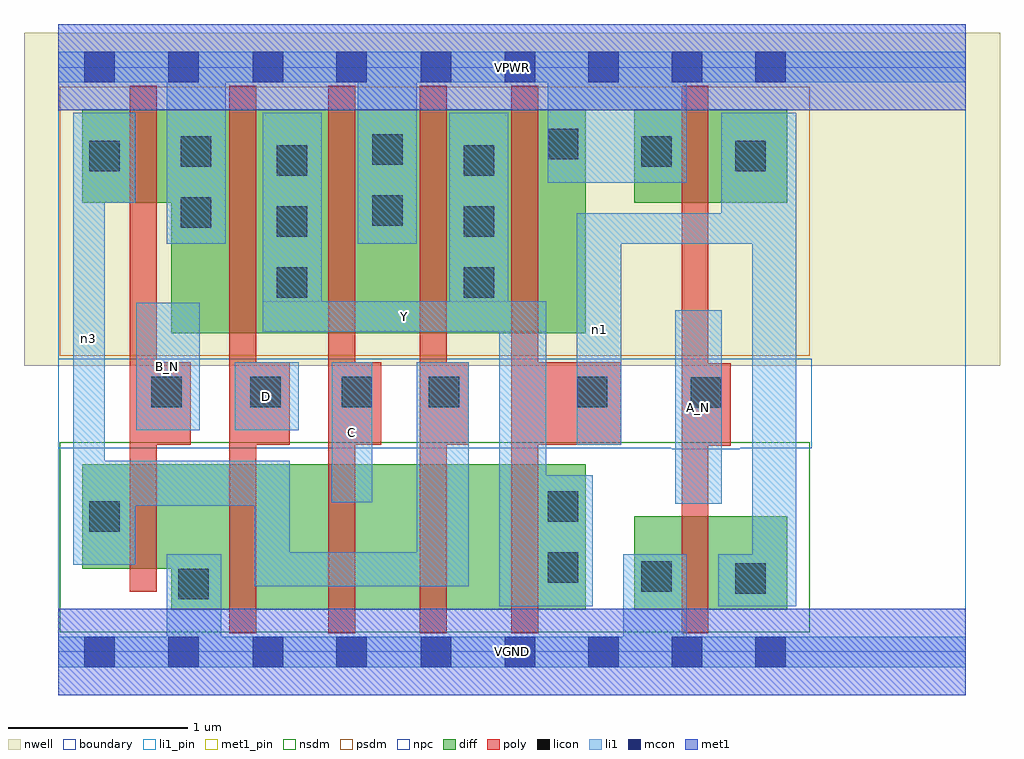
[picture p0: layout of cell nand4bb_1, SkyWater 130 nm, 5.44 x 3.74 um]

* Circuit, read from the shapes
.subckt nand4bb_1 A_N B_N C D VGND VPWR Y n1 n3
XM1 VGND B_N n3 VSUBS sky130_fd_pr__nfet_01v8 w=0.58 l=0.15
XM2 n2 D VGND VSUBS sky130_fd_pr__nfet_01v8 w=0.81 l=0.15
XM3 n4 C n2 VSUBS sky130_fd_pr__nfet_01v8 w=0.81 l=0.15
XM4 n5 n3 n4 VSUBS sky130_fd_pr__nfet_01v8 w=0.81 l=0.15
XM5 Y n1 n5 VSUBS sky130_fd_pr__nfet_01v8 w=0.81 l=0.15
XM6 n1 A_N VGND VSUBS sky130_fd_pr__nfet_01v8 w=0.52 l=0.15
XM7 VPWR B_N n3 n6 sky130_fd_pr__pfet_01v8 w=0.52 l=0.15
XM8 Y D VPWR n6 sky130_fd_pr__pfet_01v8 w=1.25 l=0.15
XM9 VPWR C Y n6 sky130_fd_pr__pfet_01v8 w=1.25 l=0.15
XM10 Y n3 VPWR n6 sky130_fd_pr__pfet_01v8 w=1.25 l=0.15
XM11 VPWR n1 Y n6 sky130_fd_pr__pfet_01v8 w=1.25 l=0.15
XM12 n1 A_N VPWR n6 sky130_fd_pr__pfet_01v8 w=0.52 l=0.15
.ends

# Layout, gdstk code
import gdstk
lib = gdstk.Library(unit=1e-6, precision=1e-09)
def R(c, l, rs):  # rectangles x0, y0, x1, y1
    for r in rs: c.add(gdstk.rectangle(r[:2], r[2:], *l))
def A(c, l, x, y, w, h, nx, ny, dx, dy):  # array of equal rectangles
    R(c, l, [(x+i*dx, y+j*dy, x+i*dx+w, y+j*dy+h) for i in range(nx) for j in range(ny)])
nwell = (64, 20)
diff = (65, 20)
poly = (66, 20)
licon = (66, 44)
li1_pin = (67, 16)
li1 = (67, 20)
mcon = (67, 44)
met1_pin = (68, 16)
met1 = (68, 20)
nsdm = (93, 44)
psdm = (94, 20)
npc = (95, 20)
boundary = (235, 4)

nand4bb_1 = lib.new_cell('nand4bb_1')
R(nand4bb_1, nwell, [(-0.19,1.595,5.25,3.45), (0,1.595,5.06,3.45)])
R(nand4bb_1, diff, [(0.63,0.235,2.94,1.045), (3.21,0.235,4.065,0.755), (0.135,0.465,2.94,1.045), (0.63,1.775,2.94,3.025), (0.135,2.505,2.94,3.025), (3.21,2.505,4.065,3.025)])
A(nand4bb_1, poly, 1.505, 0.105, 0.15, 3.05, 3, 1, 0.51, 0)
R(nand4bb_1, poly, [(0.955,0.105,1.105,3.155), (3.475,0.105,3.625,3.155), (0.4,0.335,0.55,3.155), (3.475,1.15,3.75,1.61), (0.4,1.155,0.74,1.615), (0.955,1.155,1.29,1.615), (1.505,1.155,1.8,1.615), (2.015,1.155,2.29,1.615), (2.525,1.155,3.14,1.615)])
A(nand4bb_1, licon, 1.22, 1.975, 0.17, 0.17, 1, 3, 0, 0.34)
A(nand4bb_1, licon, 2.26, 1.975, 0.17, 0.17, 1, 3, 0, 0.34)
R(nand4bb_1, licon, [(0.67,0.295,0.84,0.465), (3.775,0.325,3.945,0.495), (3.25,0.335,3.42,0.505), (2.73,0.385,2.9,0.555), (0.175,0.67,0.345,0.84), (2.73,0.725,2.9,0.895), (3.525,1.36,3.695,1.53), (0.52,1.365,0.69,1.535), (1.07,1.365,1.24,1.535), (1.58,1.365,1.75,1.535), (2.065,1.365,2.235,1.535), (2.89,1.365,3.06,1.535), (0.685,2.365,0.855,2.535), (1.75,2.375,1.92,2.545), (0.175,2.68,0.345,2.85), (3.775,2.68,3.945,2.85), (0.685,2.705,0.855,2.875), (3.25,2.705,3.42,2.875), (1.75,2.715,1.92,2.885), (2.73,2.745,2.9,2.915)])
R(nand4bb_1, li1_pin, [(3.44,0.825,3.7,1.905), (1.525,0.835,1.75,1.615), (0.435,1.235,0.79,1.945), (0.985,1.235,1.34,1.615), (1.14,1.785,2.72,1.955)])
R(nand4bb_1, li1, [(0,-0.085,5.06,0.085), (0.605,-0.085,0.91,0.545), (3.15,-0.085,3.505,0.545), (2.46,0.255,2.72,1.955), (2.46,0.255,2.98,0.985), (3.68,0.255,4.115,0.545), (3.87,0.255,4.115,3.005), (1.095,0.365,2.29,0.555), (1.095,0.365,1.29,1.065), (2,0.365,2.29,1.615), (0.085,0.485,0.26,3.005), (0.085,0.485,0.43,1.065), (0.085,0.815,1.29,1.065), (3.44,0.825,3.7,1.905), (1.525,0.835,1.75,1.615), (2.89,1.155,3.14,2.445), (0.435,1.235,0.79,1.945), (0.985,1.235,1.34,1.615), (1.14,1.785,1.47,3.005), (1.14,1.785,2.72,1.955), (2.18,1.785,2.51,3.005), (0.605,2.275,0.935,3.345), (1.67,2.275,2,3.345), (2.89,2.275,4.115,2.445), (3.695,2.275,4.115,3.005), (0.085,2.505,0.43,3.005), (2.73,2.615,3.505,3.345), (0,3.175,5.06,3.345)])
A(nand4bb_1, mcon, 0.145, -0.085, 0.17, 0.17, 3, 2, 0.47, 3.26)
A(nand4bb_1, mcon, 1.55, -0.085, 0.17, 0.17, 3, 2, 0.47, 3.26)
A(nand4bb_1, mcon, 2.955, -0.085, 0.17, 0.17, 3, 2, 0.465, 3.26)
R(nand4bb_1, met1_pin, [(0,-0.24,5.06,0.24), (0,3.02,5.06,3.5)])
R(nand4bb_1, met1, [(0,-0.24,5.06,0.24), (0,3.02,5.06,3.5)])
R(nand4bb_1, nsdm, [(0.01,0.11,4.19,1.17)])
R(nand4bb_1, psdm, [(0.01,1.65,4.19,3.15)])
R(nand4bb_1, npc, [(3.42,1.13,3.8,1.635), (0,1.135,4.2,1.635)])
R(nand4bb_1, boundary, [(0,0,5.06,3.26)])
nand4bb_1.add(gdstk.Label('A_N', (3.57,1.365), layer=67, texttype=5))
nand4bb_1.add(gdstk.Label('B_N', (0.612,1.59), layer=67, texttype=5))
nand4bb_1.add(gdstk.Label('C', (1.637,1.225), layer=67, texttype=5))
nand4bb_1.add(gdstk.Label('D', (1.162,1.425), layer=67, texttype=5))
nand4bb_1.add(gdstk.Label('Y', (1.93,1.87), layer=67, texttype=5))
nand4bb_1.add(gdstk.Label('n3', (0.172,1.745), layer=67, texttype=5))
nand4bb_1.add(gdstk.Label('n1', (3.015,1.8), layer=67, texttype=5))
nand4bb_1.add(gdstk.Label('VPWR', (2.53,3.26), layer=68, texttype=5))
nand4bb_1.add(gdstk.Label('VGND', (2.53,0), layer=68, texttype=5))
nand4bb_1.add(gdstk.Label('A_N', (3.57,1.365), layer=67, texttype=16))
nand4bb_1.add(gdstk.Label('B_N', (0.612,1.59), layer=67, texttype=16))
nand4bb_1.add(gdstk.Label('C', (1.637,1.225), layer=67, texttype=16))
nand4bb_1.add(gdstk.Label('D', (1.162,1.425), layer=67, texttype=16))
nand4bb_1.add(gdstk.Label('Y', (1.93,1.87), layer=67, texttype=16))
nand4bb_1.add(gdstk.Label('VPWR', (2.53,3.26), layer=68, texttype=16))
nand4bb_1.add(gdstk.Label('VGND', (2.53,0), layer=68, texttype=16))

lib.write_gds('nand4bb_1.gds')
